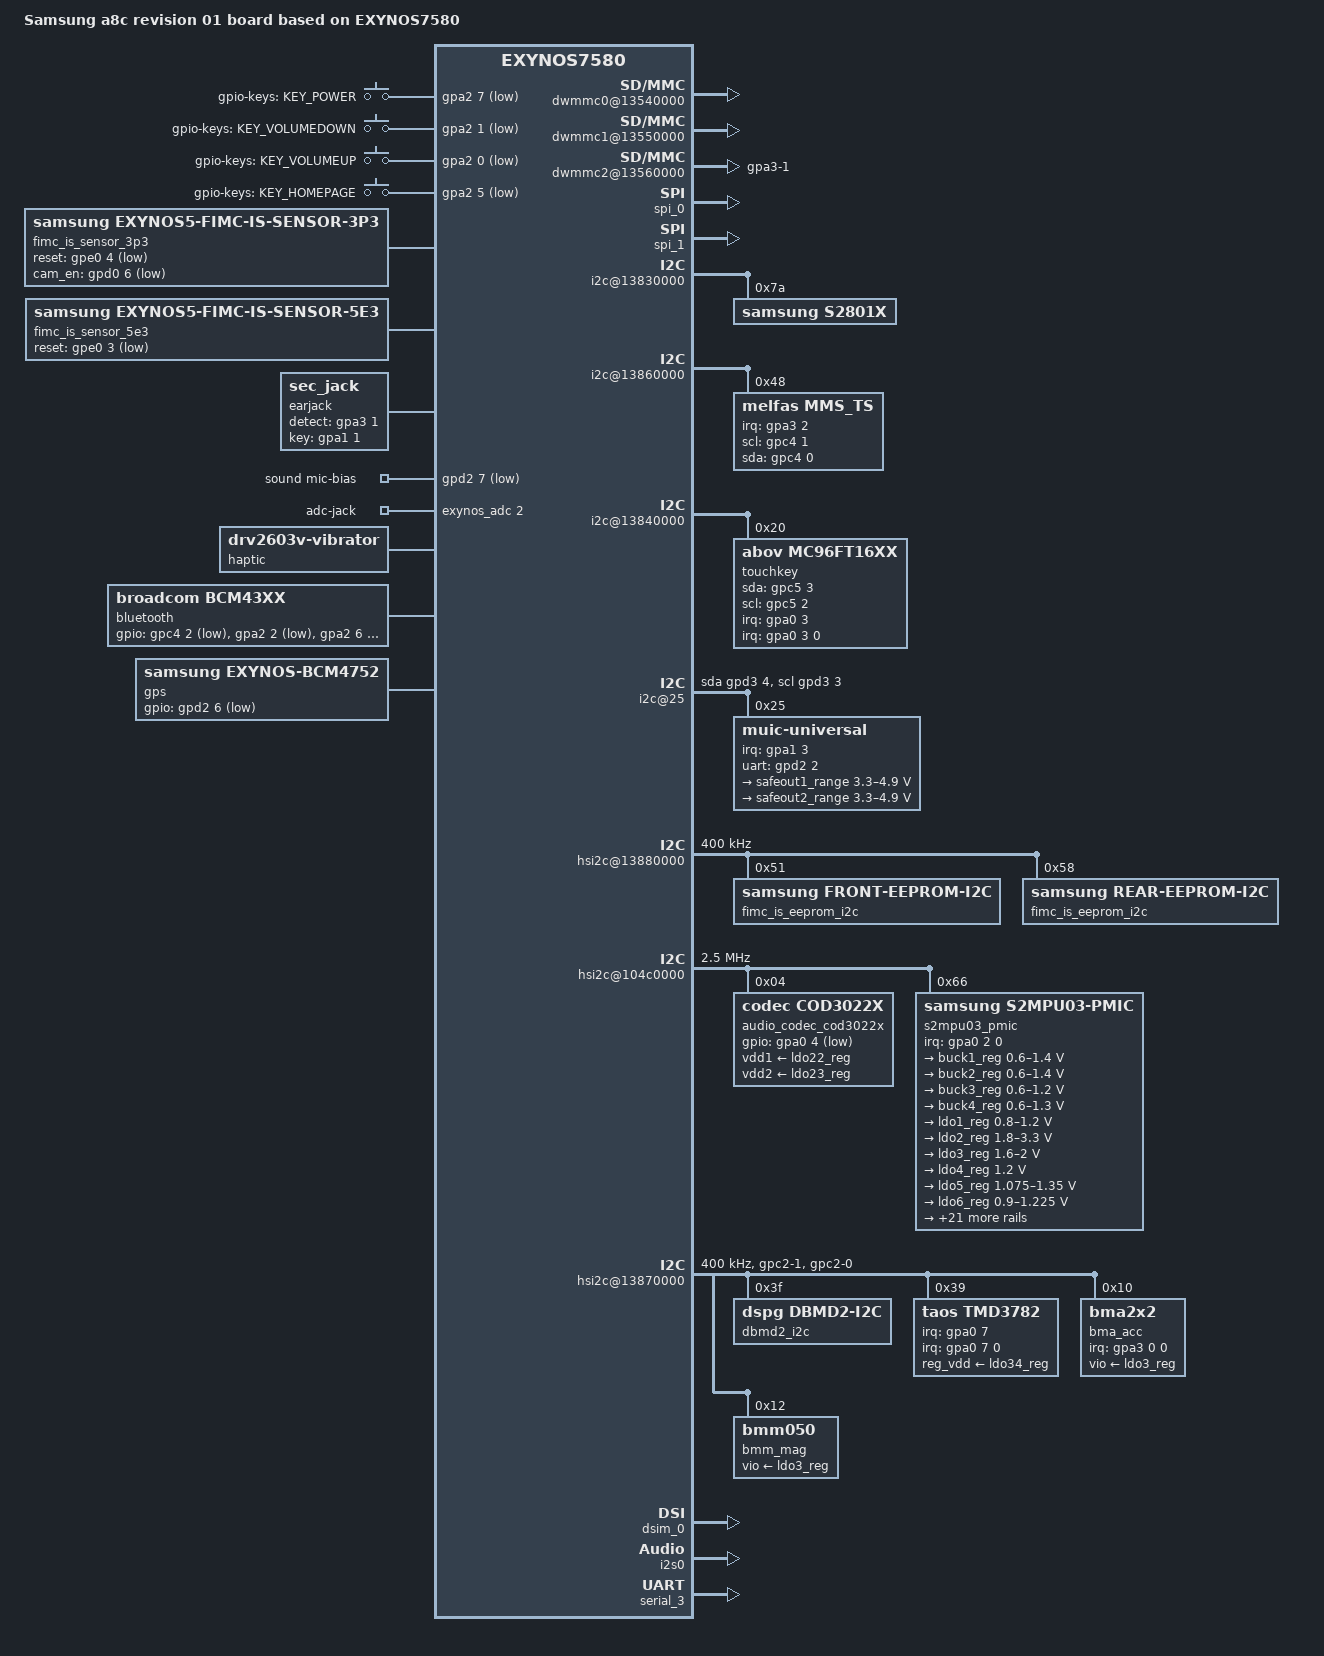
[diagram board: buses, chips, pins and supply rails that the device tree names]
/*
 * SAMSUNG S5neo board device tree source
 *
 * Copyright (c) 2014 Samsung Electronics Co., Ltd.
 *		http://www.samsung.com
 *
 * This program is free software; you can redistribute it and/or modify
 * it under the terms of the GNU General Public License version 2 as
 * published by the Free Software Foundation.
 */

/dts-v1/;
#include "exynos7580-reserve-2000MB.dtsi"
#include "exynos7580.dtsi"
#include "modem-carmen2-pdata.dtsi"
#include "exynos7580-a8clte_battery_01.dtsi"
#include "exynos7580-a8clte_gpio_01.dtsi"
#include "exynos7580-a8clte_fingerprint-sensor_00.dtsi"

/ {
	model = "Samsung a8c revision 01 board based on EXYNOS7580";
	model_info-chip = <7580>;
	model_info-platform = "android";
	model_info-subtype = "samsung";
	model_info-hw_rev = <1>;
	model_info-hw_rev_end = <255>;
	compatible = "samsung,exynos7580-universal7580,r00", "samsung,exynos7580";

	chosen {
		bootargs = "console=ttySAC1,115200n8 ess_setup=0x46000000 pmic_info=0x02";
		linux,initrd-start = <0x42000000>;
		linux,initrd-end = <0x421FFFFF>;
	};

	fixed-rate-clocks {
		oscclk {
			compatible = "samsung,exynos7580-oscclk";
			clock-frequency = <26000000>;
		};
	};

	dwmmc0@13540000 {
		status = "okay";
		num-slots = <1>;
		broken-cd;
		use-smu;
		fixed_volt;
		clock-gate;
		enable-cclk-on-suspend;
		only_once_tune;
		use-fine-tuning;
		ignore-phase = <(1 << 7)>;
		bypass-for-allpass;
		supports-highspeed;
		supports-hs200-mode;
		supports-ddr200-enhanced-strobe;
		supports-poweroff-notification;
		supports-ddr200-mode;
		enable-cache-control;
		use-enable-shift;
		enable-ulp-mode;
		desc-sz = <4>;
		qos_int_level = <200000>;
		fifo-depth = <0x40>;
		card-detect-delay = <100>;
		data-timeout = <200>;
		samsung,dw-mshc-ciu-div = <3>;
		samsung,dw-mshc-sdr-timing = <3 0 2 0>;
		samsung,dw-mshc-ddr-timing = <3 0 2 2>;
		samsung,dw-mshc-hs200-timing = <3 0 3 0>;
		samsung,dw-mshc-ddr200-timing = <1 0 2 0>;
		samsung,dw-mshc-ddr200-ulp-timing = <3 0 3 0>;
		samsung,dw-mshc-ddr200-delay-line = <0x28>;
		samsung,dw-mshc-ddr200-tx-delay-line = <0x28>;
		samsung,dw-mshc-txdt-crc-timer-fastlimit = <0x34>;
		samsung,dw-mshc-txdt-crc-timer-initval = <0x38>;
		clk_pin = "gpr0-0";
		clk_addr = "13750000.pinctrl";
		clk_val = <0x3>;
		clk_str_num = <6>;
		num-ref-clks = <10>;
		ciu_clkin = <25 50 50 100 200 100 200 400 400 200>;
		pinctrl-names = "default";
		pinctrl-0 = <&sd0_clk &sd0_cmd &sd0_rdqs &sd0_bus1 &sd0_bus4 &sd0_bus8>;
		slot@0 {
			reg = <0>;
			bus-width = <8>;
		};
	};

	dwmmc1@13550000 {
		status = "okay";
		num-slots = <1>;
		channel = <1>;
		fixed_volt;
		clock-gate;
		enable-cclk-on-suspend;
		/* broken-cd; */
		caps-control;
		supports-highspeed;
		supports-sdr104-mode;
		keep-power-in-suspend;
		pm-ignore-notify;
		cd-type-external;
		use-broken-voltage;
		use-fine-tuning;
		ignore-phase = <(1 << 7)>;
		fifo-depth = <0x40>;
		card-detect-delay = <200>;
		qos_int_level = <468000>;
		samsung,dw-mshc-ciu-div = <3>;
		samsung,dw-mshc-sdr-timing = <3 0 2 1>;
		samsung,dw-mshc-ddr-timing = <3 0 2 1>;
		clk_pin = "gpr2-0";
		clk_addr = "13750000.pinctrl";
		clk_val = <0x2>;
		clk_str_num = <6>;
		num-ref-clks = <8>;
		ciu_clkin = <25 50 50 100 200 100 200 400>;
		tp_mon_depth = <2>;
				/* Byte/s,  MIF clk, CPU clk, KFC clk*/
                tp_mon_table = <8000000 825000  800000  0
				0       0       0       0>;
		pinctrl-names = "default";
		pinctrl-0 = <&sd1_clk &sd1_cmd &sd1_bus1 &sd1_bus4>;
		slot@0 {
			reg = <0>;
			bus-width = <4>;
		};
	};

	dwmmc2@13560000 {
		status = "okay";
		num-slots = <1>;
		supports-highspeed;
		enable-cclk-on-suspend;
		supports-sdr104-mode;
		bypass-smu;
		use-fine-tuning;
		clock-gate;
		fifo-depth = <0x40>;
		card-detect-delay = <200>;
		data-timeout = <200>;
		qos_int_level = <468000>;
		ignore-phase = <(1 << 7)>;
		bypass-for-allpass;
		fix-fmp-size-mismatch;
		not-allow-single-dma;
		desc-sz = <4>;
		samsung,dw-mshc-ciu-div = <3>;
		samsung,dw-mshc-sdr-timing = <3 0 2 0>;
		samsung,dw-mshc-ddr-timing = <3 0 2 1>;
		clk_pin = "gpr4-0";
		clk_addr = "13750000.pinctrl";
		clk_val = <0x2>;
		clk_str_num = <6>;
		num-ref-clks = <8>;
		ciu_clkin = <25 50 50 100 200 100 200 400>;
		pinctrl-names = "default", "output";
		pinctrl-0 = <&sd2_clk &sd2_cmd &sd2_bus1 &sd2_bus4 &dwmmc2_cd_ext_irq>;
		pinctrl-1 = <&sd2_clk_output &sd2_cmd_output &sd2_bus1 &sd2_bus4 &dwmmc2_cd_ext_irq>;
		gpio-controller;
		sec-sd-slot-type = <1>; /* Normal SD slot */
		#gpio-cells = <2>;
		cd-gpio = <&gpa3 1 0xf>;
		slot@0 {
			reg = <0>;
			bus-width = <4>;
			disable-wp;
		};
	};

	gpio_keys{
		compatible = "gpio-keys";
		pinctrl-names = "default";
		pinctrl-0 = <&gpa2_pull_up_univ>;

		button@1 {
			label = "gpio-keys: KEY_POWER";
			interrupt-parent = <&gpa2>;
			linux,code = <116>;
			gpios = <&gpa2 7 0xf>;
			gpio-key,wakeup = <1>;
		};
		button@2 {
			label = "gpio-keys: KEY_VOLUMEDOWN";
			interrupt-parent = <&gpa2>;
			linux,code = <114>;
			gpios = <&gpa2 1 0xf>;
		};
		button@3 {
			label = "gpio-keys: KEY_VOLUMEUP";
			interrupt-parent = <&gpa2>;
			linux,code = <115>;
			gpios = <&gpa2 0 0xf>;
		};
		button@4 {
			label = "gpio-keys: KEY_HOMEPAGE";
			interrupt-parent = <&gpa2>;
			linux,code = <172>;
			gpios = <&gpa2 5 0xf>;
			gpio-key,wakeup = <1>;
		};
	};

	/* TSP_SCL / TSP_SDA */
	pinctrl@138D0000 {
		i2c_pdn_off: i2c-pdn_off {
			samsung,pins = "gpc4-1", "gpc4-0";
			samsung,pin-con-pdn = <2>;
			samsung,pin-pud-pdn = <1>;
		};
	};

	pinctrl@139B0000 {
		pmic_irq: pmic-irq {
			samsung,pins = "gpa0-2";
			samsung,pin-pud = <3>;
			samsung,pin-drv = <3>;
		};
		/* TOUCH_INT */
		cfg_irq: cfg-irq {
			samsung,pins = "gpa0-3";
			samsung,pin-function = <0xf>;
			samsung,pin-pud = <3>;
			samsung,pin-drv = <0>;
		};
		cfg_input: cfg-input {
			samsung,pins = "gpa0-3";
			samsung,pin-function = <0>;
			samsung,pin-pud = <1>;
			samsung,pin-drv = <0>;
		};
		/* PMIC_IRQBC */
		cod3022_irq: cod3022-irq {
			samsung,pins = "gpa0-4";
			samsung,pin-pud = <3>;
			samsung,pin-drv = <3>;
		};
		/* MUIC_INT */
		muic_irq: muic-irq {
			samsung,pins = "gpa1-3";
			samsung,pin-pud = <0>;
			samsung,pin-drv = <0>;
		};
		prox_irq: prox_irq {
			samsung,pins = "gpa0-7";
			samsung,pin-function = <0>;
			samsung,pin-pud = <0>;
			samsung,pin-drv = <0>;
		};
		acc_int: acc_int {
			samsung,pins = "gpa3-0";
			samsung,pin-function = <0>;
			samsung,pin-pud = <1>;
			samsung,pin-drv = <0>;
		};
		attn_input: attn-input {
			samsung,pins = "gpa3-2";
			samsung,pin-function = <0>;
			samsung,pin-pud = <1>;
			samsung,pin-drv = <0>;
		};
		attn_irq: attn-irq {
			samsung,pins = "gpa3-2";
			samsung,pin-function = <0xf>;
			samsung,pin-pud = <0>;
			samsung,pin-drv = <0>;
		};
		/* T_FLASH_DET */
		dwmmc2_cd_ext_irq: dwmmc2_cd_ext_irq {
			samsung,pins = "gpa3-1";
			samsung,pin-function = <0xf>;
			samsung,pin-pud = <3>;
			samsung,pin-drv = <0>;
		};
		earjack_jack_det: jack-det {
			samsung,pins = "gpa3-1";
			samsung,pin-function = <0xf>;
			samsung,pin-pud = <0>;
			samsung,pin-drv = <0>;
		};
		earjack_key_det: key-det {
			samsung,pins = "gpa1-1";
			samsung,pin-function = <0xf>;
			samsung,pin-pud = <0>;
			samsung,pin-drv = <0>;
		};
	};

	pinctrl@139C0000 {
		/* Vibrator Ctrl */
		motor_en: motor_en {
			samsung,pins = "gpe0-7";
			samsung,pin-function = <1>;
			samsung,pin-pud = <0>;
			samsung,pin-drv = <0>;
		};
		vibetonz_pwm: vibetonz_pwm {
			samsung,pins = "gpc1-1";
			samsung,pin-function = <2>;
			samsung,pin-pud = <0>;
			samsung,pin-drv = <0>;
		};
		/* TOUCH_SCL / SDA */
		cfg_i2c: cfg-i2c {
			samsung,pins = "gpc5-3", "gpc5-2";
			samsung,pin-function = <0>;
			samsung,pin-pud = <3>;
			samsung,pin-drv = <0>;
		};
		cfg_gpio: cfg-gpio {
			samsung,pins = "gpc5-3", "gpc5-2";
			samsung,pin-function = <0>;
			samsung,pin-pud = <0>;
			samsung,pin-drv = <0>;
		};
		/* need check */
		main_mic_bias_en:main-mic-bias-en {
			samsung,pins ="gpd2-7";
			samsung,pin-function = <1>;
			samsung,pin-pud = <0>;
			samsung,pin-con-pdn = <3>;
			samsung,pin-pud-pdn = <0>;
			samsung,pin-val = <0>;
		};
		/* Warm reset information from AP */
		pm_wrsti: pm-wrsti {
			samsung,pins = "gpe1-0";
			samsung,pin-con-pdn = <3>;
		};
	};

	spi_0: spi@13910000 {
		/delete-property/ dma-mode;
		/delete-property/ dmas;
		/delete-property/ dma-names;
		#address-cells = <1>;
		#size-cells = <0>;
		pinctrl-names = "default";
		pinctrl-0 = <&spi0_bus>;
		pinctrl-1 = <&spi0_cs>;
		num-cs = <1>;
		status = "okay";
	};

	spi_1: spi@13920000 {
		/delete-property/ dma-mode;
		/delete-property/ dmas;
		/delete-property/ dma-names;
		#address-cells = <1>;
		#size-cells = <0>;
		pinctrl-names = "default";
		pinctrl-0 = <&spi1_bus>;
		pinctrl-1 = <&spi1_cs>;
		status = "okay";
	};

	i2c@13830000 {
		samsung,i2c-sda-delay = <100>;
		samsung,i2c-max-bus-freq = <400000>;
		status = "okay";
		#address-cells = <1>;
		#size-cells = <0>;
		supports-bus-clear;

		s2801x: s2801x@7a {
			compatible = "samsung,s2801x";
			reg = <0x7a>;
			clocks = <&clock 154>,	/* sclk_audmixer */
				 <&clock 155>,	/* sclk_audmixer_bclk0*/
				 <&clock 156>,	/* sclk_audmixer_bclk1 */
				 <&clock 157>,	/* sclk_audmixer_bclk2 */
				 <&clock 152>,	/* bclk_mi2s */
				 <&clock 149>;	/* dout_audmixer*/

			clock-names = "audmixer_sysclk", "audmixer_bclk0",
					"audmixer_bclk1", "audmixer_bclk2",
					"mi2s_bclk", "audmixer_dout";
			sysreg-reset = <0x110F2000>;
			sysreg-i2c = <0x110F3000>;
			pinctrl-names = "default", "idle";
			pinctrl-0 = <&i2s_pmic_bus
					&i2s2_codec_clk
					&pcm_bt_bus
					&pcm_bt1_bus>;
			pinctrl-1 = <&i2s_pmic_bus_idle
					&i2s2_codec_clk_idle
					&pcm_bt_bus_idle
					&pcm_bt1_bus_idle>;
			samsung,lpass-subip;
		};
	};

	i2c@13860000 {
		samsung,i2c-sda-delay = <100>;
		samsung,i2c-max-bus-freq = <400000>;
		status = "okay";
		#address-cells = <1>;
		#size-cells = <0>;

		mms_ts@48 {
			compatible = "melfas,mms_ts";
			reg = <0x48>;
			pinctrl-names = "on_state", "off_state";
			pinctrl-0 = <&attn_irq>;
			pinctrl-1 = <&attn_input &i2c_pdn_off>;
			melfas,vdd_en = "tsp_avdd";
			melfas,io_en = "vdd_ldo3";
			melfas,irq-gpio = <&gpa3 2 0>;
			melfas,scl-gpio = <&gpc4 1 0>;
			melfas,sda-gpio = <&gpc4 0 0>;
			melfas,max_x = <2160>;
			melfas,max_y = <3840>;
			melfas,fw_name = "tsp_melfas/mms449_a8.fw";
		};
	};

	/* Touchkey */
	i2c@13840000 {
		samsung,i2c-sda-delay = <100>;
		samsung,i2c-max-bus-freq = <200000>;
		status = "okay";
		#address-cells = <1>;
		#size-cells = <0>;
		pinctrl-0 = <&i2c7_bus>;

		touchkey@20 {
			pinctrl-names = "on_irq","off_irq";
			pinctrl-0 = <&cfg_irq>;
			pinctrl-1 = <&cfg_input>;
			compatible = "abov,mc96ft16xx";
			reg = <0x20>;
			interrupts = <3 0 0>;
			interrupt-parent = <&gpa0>;
			abov,sda-gpio = <&gpc5 3 0>;
			abov,scl-gpio = <&gpc5 2 0>;
			abov,irq-gpio = <&gpa0 3 0>;
			abov,regulator_ic = "vtouch_2.8v";
			abov,regulator_led = "vtouch_led_2.8v";
			abov,boot-on-ldo = "true";
		};
	};

	/* MUIC */
	i2c@25 {
		compatible = "i2c-gpio";
		gpios = <&gpd3 4 0
			&gpd3 3 0>;
		i2c-gpio,delay-us = <5>;
		#address-cells = <1>;
		#size-cells = <0>;
		status = "okay";

		muic-universal@25 {
			status = "okay";
			compatible = "muic-universal";
			reg = <0x25>;
			pinctrl-names = "default";
			pinctrl-0 = <&muic_irq>;
			muic-universal,chip_name = "sm,sm5703";
			muic-universal,irq-gpio = <&gpa1 3 0>;
			muic-universal,uart-gpio = <&gpd2 2 0>;
			muic-universal,uart-ap = <0x1>;
			regulators {
				ESAFEOUT1 {
					regulator-compatible = "safeout1";
					regulator-name = "safeout1_range";
					regulator-min-microvolt = <3300000>;
					regulator-max-microvolt = <4900000>;
					regulator-boot-on;
				};

				ESAFEOUT2 {
					regulator-compatible = "safeout2";
					regulator-name = "safeout2_range";
					regulator-min-microvolt = <3300000>;
					regulator-max-microvolt = <4900000>;
				};
			};
		};
	};

	muic {
		status = "disabled";
		muic,support-list = "+OTG:GND",
					"-MHL:1K",
					"-VZW Accessory:28.7K",
					"-VZW Incompatible:34K",
					"-Smartdock:40.2K",
					"-HMT:49.9K",
					"-Audiodock:64.9K",
					"-USB LANHUB:80.07K",
					"+Charging Cable:102K",
					"-Universal Multimedia dock:121K",
					"+Jig USB Off:255K",
					"+Jig USB On:301K",
					"-Deskdock:365K",
					"+TYPE2 Charger:442K",
					"+Jig UART Off:523K",
					"+Jig UART On:619K",
					"+TA:OPEN",
					"+USB:OPEN",
					"+CDP:OPEN",
					"+Undefined Charging:XXX";
	};

	pinctrl@139C0000 {
		fled_flash_sleep: fled-flash-sleep {
			samsung,pins = "gpe0-2", "gpe0-1";
			samsung,pin-function = <2>;
			samsung,pin-pud = <1>;
			samsung,pin-drv = <0>;
		};
		fled_flash_active: fled-flash-active {
			samsung,pins = "gpe0-2", "gpe0-1";
			samsung,pin-function = <1>;
			samsung,pin-pud = <1>;
			samsung,pin-drv = <0>;
		};
	};

	hsi2c@13880000 {
		status = "okay";
		clock-frequency = <400000>;
		fimc_is_eeprom_i2c@51{
			compatible = "samsung,front-eeprom-i2c";
			reg = <0x51>;
			use_i2c_pinctrl;
			fimc_is_front_eeprom_pinname = "139C0000.pinctrl";
			fimc_is_front_eeprom_sda = "gpc2-2";
			fimc_is_front_eeprom_scl = "gpc2-3";
			pinfunc_on = <4>;
			pinfunc_off = <0>;
		};
		fimc_is_eeprom_i2c@58 {
			compatible = "samsung,rear-eeprom-i2c";
			reg = <0x58>;
			use_i2c_pinctrl;
			fimc_is_rear_eeprom_pinname = "139C0000.pinctrl";
			fimc_is_rear_eeprom_sda = "gpc2-2";
			fimc_is_rear_eeprom_scl = "gpc2-3";
			pinfunc_on = <4>;
			pinfunc_off = <0>;
		};
	};

	hsi2c@104c0000 {
		status = "okay";
		samsung,hs-mode;
		clock-frequency = <2500000>;
		samsung,hsi2c-batcher;
		#address-cells = <1>;
		#size-cells = <0>;

		audio_codec_cod3022x: cod3022x@04 {
			compatible = "codec,cod3022x";
			reg = <0x04>;
			ten-bit-address;
			vdd1-supply = <&ldo22_reg>;
			vdd2-supply = <&ldo23_reg>;
			pinctrl-names = "default";
			pinctrl-0 = <&cod3022_irq>;
			interrupt-parent = <&gpa0>;
			gpios = <&gpa0 4 0xf>;
			/* Mic Bias: 0->2.1v, 1->2.5v, 2->2.6v, 3->3.0v */
			mic-bias1-voltage = <3>;
			mic-bias2-voltage = <3>;
		};

		s2mpu03_pmic@66 {
			compatible = "samsung,s2mpu03-pmic";
			reg = <0x66>;
			ten-bit-address;
			interrupts = <2 0 0>;
			interrupt-parent = <&gpa0>;
			pinctrl-names = "default";
			pinctrl-0 = <&pmic_irq &pm_wrsti>;
			g3d_en = <1>; /* 1 : enable , 0 : disable */
			/*
			buck4en_pin = "etc1-3";
			buck4en_addr = "1111111.pinctrl";
			*/
			/* RTC: wtsr/smpl */
			wtsr_en = <1>; /* enable */
			smpl_en = <1>; /* enable */
			wtsr_timer_val = <3>;   /* 1000ms */
			smpl_timer_val = <4>;   /* 500ms */
			check_jigon = <0>; /* do not check jigon */
			/* RTC: If it's first boot, reset rtc to 1/1/2015 12:00:00(Thu) */
			init_time,sec = <0>;
			init_time,min = <0>;
			init_time,hour = <12>;
			init_time,mday = <1>;
			init_time,mon = <0>;
			init_time,year = <115>;
			init_time,wday = <4>;

			regulators {
				buck1_reg: BUCK1 {
					regulator-name = "cpu-cluster.1";
					regulator-min-microvolt = <600000>;
					regulator-max-microvolt = <1400000>;
					regulator-always-on;
					regulator-boot-on;
					regulator-ramp-delay = <12000>;
					regulator-initial-mode = <1>;
				};

				buck2_reg: BUCK2 {
					regulator-name = "cpu-cluster.0";
					regulator-min-microvolt = <600000>;
					regulator-max-microvolt = <1400000>;
					regulator-always-on;
					regulator-boot-on;
					regulator-ramp-delay = <12000>;
					regulator-initial-mode = <1>;
				};

				buck3_reg: BUCK3 {
					regulator-name = "vdd_intmif";
					regulator-min-microvolt = <600000>;
					regulator-max-microvolt = <1200000>;
					regulator-always-on;
					regulator-boot-on;
					regulator-ramp-delay = <12000>;
					regulator-initial-mode = <1>;
				};

				buck4_reg: BUCK4 {
					regulator-name = "vdd_g3d";
					regulator-min-microvolt = <600000>;
					regulator-max-microvolt = <1300000>;
					regulator-always-on;
					regulator-boot-on;
					regulator-ramp-delay = <12000>;
					regulator-initial-mode = <1>;
				};

				ldo1_reg: LDO1 {
					regulator-name = "vdd_ldo1";
					regulator-min-microvolt = <800000>;
					regulator-max-microvolt = <1200000>;
					regulator-always-on;
					regulator-ramp-delay = <12000>;
					regulator-initial-mode = <3>;
				};

				ldo2_reg: LDO2 {
					regulator-name = "vqmmc";
					regulator-min-microvolt = <1800000>;
					regulator-max-microvolt = <3300000>;
					regulator-boot-on;
					regulator-always-on;
					regulator-ramp-delay = <12000>;
					regulator-initial-mode = <1>;
				};

				ldo3_reg: LDO3 {
					regulator-name = "vdd_ldo3";
					regulator-min-microvolt = <1600000>;
					regulator-max-microvolt = <2000000>;
					regulator-boot-on;
					regulator-always-on;
					regulator-ramp-delay = <12000>;
					regulator-initial-mode = <3>;
				};

				ldo4_reg: LDO4 {
					regulator-name = "vdd_ldo4";
					regulator-min-microvolt = <1200000>;
					regulator-max-microvolt = <1200000>;
					regulator-boot-on;
					regulator-always-on;
					regulator-ramp-delay = <12000>;
					regulator-initial-mode = <1>;
				};

				ldo5_reg: LDO5 {
					regulator-name = "vdd_ldo5";
					regulator-min-microvolt = <1075000>;
					regulator-max-microvolt = <1350000>;
					regulator-boot-on;
					regulator-always-on;
					regulator-ramp-delay = <12000>;
					regulator-initial-mode = <3>;
				};

				ldo6_reg: LDO6 {
					regulator-name = "vdd_ldo6";
					regulator-min-microvolt = <900000>;
					regulator-max-microvolt = <1225000>;
					regulator-boot-on;
					regulator-always-on;
					regulator-ramp-delay = <12000>;
					regulator-initial-mode = <1>;
				};

				ldo7_reg: LDO7 {
					regulator-name = "vdd_ldo7";
					regulator-min-microvolt = <1600000>;
					regulator-max-microvolt = <2000000>;
					regulator-boot-on;
					regulator-always-on;
					regulator-initial-mode = <1>;
				};

				ldo8_reg: LDO8 {
					regulator-name = "vdd_ldo8";
					regulator-min-microvolt = <2250000>;
					regulator-max-microvolt = <3300000>;
					regulator-boot-on;
					regulator-always-on;
					regulator-initial-mode = <1>;
				};

				ldo10_reg: LDO10 {
					regulator-name = "vdd_ldo10";
					regulator-min-microvolt = <800000>;
					regulator-max-microvolt = <1350000>;
					regulator-always-on;
					regulator-initial-mode = <1>;
				};

				ldo22_reg: LDO22 {
					regulator-name = "codec_ldo22";
					regulator-min-microvolt = <1000000>;
					regulator-max-microvolt = <2375000>;
					regulator-initial-mode = <3>;
				};

				ldo23_reg: LDO23 {
					regulator-name = "codec_ldo23";
					regulator-min-microvolt = <1000000>;
					regulator-max-microvolt = <2375000>;
					regulator-initial-mode = <3>;
				};

				ldo24_reg: LDO24 {
					regulator-name = "vdd_ldo24";
					regulator-min-microvolt = <1800000>;
					regulator-max-microvolt = <3375000>;
					regulator-always-on;
					regulator-boot-on;
					regulator-initial-mode = <3>;
				};

				ldo25_reg: LDO25 {
					regulator-name = "vdd_ldo25";
					regulator-min-microvolt = <1000000>;
					regulator-max-microvolt = <2375000>;
					regulator-always-on;
					regulator-boot-on;
					regulator-initial-mode = <3>;
				};

				ldo26_reg: LDO26 {
					regulator-name = "vmmc";
					regulator-min-microvolt = <2800000>;
					regulator-max-microvolt = <2800000>;
					regulator-boot-on;
					regulator-initial-mode = <1>;
				};

				ldo27_reg: LDO27 {
					regulator-name = "VDDIO_1.8V_CAM";
					regulator-min-microvolt = <1800000>;
					regulator-max-microvolt = <1800000>;
					regulator-initial-mode = <1>;
				};

				ldo28_reg: LDO28 {
					regulator-name = "vtouch_2.8v";
					regulator-min-microvolt = <2800000>;
					regulator-max-microvolt = <2800000>;
					regulator-boot-on;
					regulator-initial-mode = <1>;
				};

				ldo29_reg: LDO29 {
					regulator-name = "VDD_VTCAM_SENSOR_A2P8";
					regulator-min-microvolt = <2800000>;
					regulator-max-microvolt = <2800000>;
					regulator-initial-mode = <1>;
				};

				ldo30_reg: LDO30 {
					regulator-name = "LCD_3P0";
					regulator-min-microvolt = <3000000>;
					regulator-max-microvolt = <3000000>;
					regulator-boot-on;
					regulator-initial-mode = <3>;
				};

				ldo31_reg: LDO31 {
					regulator-name = "LCD_1P8";
					regulator-min-microvolt = <1800000>;
					regulator-max-microvolt = <1800000>;
					regulator-boot-on;
					regulator-initial-mode = <3>;
				};

				ldo32_reg: LDO32 {
					regulator-name = "VDDIO_1.8V_VT";
					regulator-min-microvolt = <1800000>;
					regulator-max-microvolt = <1800000>;
					regulator-initial-mode = <1>;
				};

				ldo33_reg: LDO33 {
					regulator-name = "tsp_avdd";
					regulator-min-microvolt = <1800000>;
					regulator-max-microvolt = <3375000>;
					regulator-initial-mode = <1>;
				};

				ldo34_reg: LDO34 {
					regulator-name = "VDD_SENSOR_2P85";
					regulator-min-microvolt = <2850000>;
					regulator-max-microvolt = <2850000>;
					regulator-always-on;
					regulator-initial-mode = <1>;
				};

				ldo35_reg: LDO35 {
					regulator-name = "VDD_CAM_SENSOR_A2P95";
					regulator-min-microvolt = <2950000>;
					regulator-max-microvolt = <2950000>;
					regulator-initial-mode = <1>;
				};

				ldo36_reg: LDO36 {
					regulator-name = "VDD_VTCAM_1P2";
					regulator-min-microvolt = <1200000>;
					regulator-max-microvolt = <1200000>;
					regulator-initial-mode = <1>;
				};

				ldo37_reg: LDO37 {
					regulator-name = "VLED_3P3";
					regulator-min-microvolt = <3300000>;
					regulator-max-microvolt = <3350000>;
					regulator-always-on;
					regulator-initial-mode = <1>;
				};

				ldo38_reg: LDO38 {
					regulator-name = "ldo38";
					regulator-min-microvolt = <2800000>;
					regulator-max-microvolt = <2800000>;
					regulator-always-on;
					regulator-initial-mode = <1>;
				};

				ldo39_reg: LDO39 {
					regulator-name = "ldo39";
					regulator-min-microvolt = <1800000>;
					regulator-max-microvolt = <1800000>;
					regulator-always-on;
					regulator-initial-mode = <3>;
				};
			};
		};
	};

	fimc_is_sensor_3p3: fimc-is_sensor_3p3@0 {
		compatible = "samsung,exynos5-fimc-is-sensor-3p3";

		pinctrl-names = "pin0", "pin1";
		pinctrl-0 = <&fimc_is_mclk0_fn &fimc_is_i2c0>; /* rear on */
		pinctrl-1 = <&fimc_is_mclk0_in &fimc_is_i2c0>; /* rear off */

		position = <0>; /* Rear:0. Front:1 */
		id = <0>; /* bns_id */
		mclk_ch = <0>;
		sensor_i2c_ch = <0>; /* I2C 0 */
		sensor_i2c_addr = <0x0>;

		gpio_reset = <&gpe0 4 0x1>; /* sensor reset */
		gpios_cam_en = <&gpd0 6 0x1>;
		status = "okay";

		af {
			product_name = <13>; /* DW9807 */
			i2c_addr = <0x18>;
			i2c_ch = <0>; /* I2C 0 */
		};

		flash {
			product_name = <11>; /* GPIO */
			flash_first_gpio = <2>;
			flash_second_gpio = <1>;
		};
	};

	fimc_is_sensor_5e3: fimc-is_sensor_5e3@0 {
		compatible = "samsung,exynos5-fimc-is-sensor-5e3";

		pinctrl-names = "pin0", "pin1";
		pinctrl-0 = <&fimc_is_mclk1_fn &fimc_is_i2c1>; /* front on */
		pinctrl-1 = <&fimc_is_mclk1_in &fimc_is_i2c1>; /* front off */

		position = <1>; /* Rear:0. Front:1 */
		id = <1>; /* bns_id */
		mclk_ch = <1>;
		sensor_i2c_ch = <1>;
		sensor_i2c_addr = <0x0>;

		gpio_reset = <&gpe0 3 0x1>;
		status = "okay";
	};


	fimc_is_sensor0: fimc_is_sensor@144a0000 {
		scenario = <0>;
		id = <0>;
		mclk_ch = <0>;
		csi_ch = <0>;
		flite_ch = <0>;
		i2c_ch = <0>;
		i2c_addr = <0x0>;
		is_bns = <1>;
		status = "okay";
	};

	fimc_is_sensor1: fimc_is_sensor@144b0000 {
		scenario = <0>;
		id = <1>;
		mclk_ch = <1>;
		csi_ch = <1>;
		flite_ch = <1>;
		i2c_ch = <1>;
		i2c_addr = <0x0>;
		is_bns = <0>;
		status = "okay";
	};

	fimc_is@14400000 {
		rear_sensor_id = <23>; /* SENSOR_NAME_S5K3P3 */
		front_sensor_id = <17>; /* SENSOR_NAME_S5K5E3 */
		use_module_check;

		total_camera_num = <2>;
		camera_info0 {				// 0 : rear
			isp = <0>;				/* 0 : INT , 1 : EXT , 2 : SOC */
			cal_memory = <2>;		/* 0 : N , 1 : FROM , 2 : EEPROM , 3 : OTP  */
			read_version = <0>;		/* 0 : SYSFS , 1 : CAMON */
			core_voltage = <0>;		/* 0 : N , 1 : Y  */
			upgrade = <0>;			/* 0 : N , 1 : SYSFS , 2 : CAMON */
			companion = <0>;	/* 0 : N , 1 : Y  */
			ois = <0>;				/* 0 : N , 1 : Y  */
		};
		camera_info1 {				// 1 : front
			isp = <0>;				/* 0 : INT , 1 : EXT , 2 : SOC */
			cal_memory = <2>;		/* 0 : N , 1 : FROM , 2 : EEPROM , 3 : OTP  */
			read_version = <0>;		/* 0 : SYSFS , 1 : CAMON */
			core_voltage = <0>;		/* 0 : N , 1 : Y  */
			upgrade = <0>;			/* 0 : N , 1 : SYSFS , 2 : CAMON */
			companion = <0>;	/* 0 : N , 1 : Y  */
			ois = <0>;				/* 0 : N , 1 : Y  */
		};

		#define DVFS_INT_L0 400000
		#define DVFS_INT_L1 334000
		#define DVFS_INT_L2 267000
		#define DVFS_INT_L3 200000
		#define DVFS_INT_L4 160000
		#define DVFS_INT_L5 134000
		#define DVFS_INT_L6 111000
		#define DVFS_INT_L7 100000

		#define DVFS_CAM_L0 530000
		#define DVFS_CAM_L1 430000
		#define DVFS_CAM_L2 400000
		#define DVFS_CAM_L3 334000
		#define DVFS_CAM_L4 267000
		#define DVFS_CAM_L5 200000

		#define DVFS_MIF_L0 825000
		#define DVFS_MIF_L1 728000
		#define DVFS_MIF_L2 667000
		#define DVFS_MIF_L3 559000
		#define DVFS_MIF_L4 416000
		#define DVFS_MIF_L5 338000
		#define DVFS_MIF_L6 273000
		#define DVFS_MIF_L7 200000

		fimc_is_dvfs {
			default_int = <DVFS_INT_L0>;
			default_cam = <DVFS_CAM_L0>;
			default_mif = <DVFS_MIF_L0>;
			default_i2c = <0>;

			front_preview_int = <DVFS_INT_L3>;
			front_preview_cam = <DVFS_CAM_L4>;
			front_preview_mif = <DVFS_MIF_L3>;
			front_preview_i2c = <0>;

			front_capture_int = <DVFS_INT_L3>;
			front_capture_cam = <DVFS_CAM_L4>;
			front_capture_mif = <DVFS_MIF_L3>;
			front_capture_i2c = <0>;

			front_video_int = <DVFS_INT_L3>;
			front_video_cam = <DVFS_CAM_L4>;
			front_video_mif = <DVFS_MIF_L3>;
			front_video_i2c = <0>;

			front_video_whd_int = <DVFS_INT_L0>;
			front_video_whd_cam = <DVFS_CAM_L0>;
			front_video_whd_mif = <DVFS_MIF_L0>;
			front_video_whd_i2c = <0>;

			front_video_capture_int = <DVFS_INT_L3>;
			front_video_capture_cam = <DVFS_CAM_L4>;
			front_video_capture_mif = <DVFS_MIF_L3>;
			front_video_capture_i2c = <0>;

			front_video_whd_capture_int = <DVFS_INT_L0>;
			front_video_whd_capture_cam = <DVFS_CAM_L0>;
			front_video_whd_capture_mif = <DVFS_MIF_L0>;
			front_video_whd_capture_i2c = <0>;

			front_vt1_int = <DVFS_INT_L3>;
			front_vt1_cam = <DVFS_CAM_L4>;
			front_vt1_mif = <DVFS_MIF_L3>;
			front_vt1_i2c = <0>;

			front_vt2_int = <DVFS_INT_L3>;
			front_vt2_cam = <DVFS_CAM_L4>;
			front_vt2_mif = <DVFS_MIF_L3>;
			front_vt2_i2c = <0>;

			rear_preview_fhd_int = <DVFS_INT_L3>;
			rear_preview_fhd_cam = <DVFS_CAM_L0>;
			rear_preview_fhd_mif = <DVFS_MIF_L2>;
			rear_preview_fhd_i2c = <0>;

			rear_preview_whd_int = <DVFS_INT_L0>;
			rear_preview_whd_cam = <DVFS_CAM_L0>;
			rear_preview_whd_mif = <DVFS_MIF_L0>;
			rear_preview_whd_i2c = <0>;

			rear_preview_uhd_int = <DVFS_INT_L0>;
			rear_preview_uhd_cam = <DVFS_CAM_L0>;
			rear_preview_uhd_mif = <DVFS_MIF_L0>;
			rear_preview_uhd_i2c = <0>;

			rear_capture_int = <DVFS_INT_L3>;
			rear_capture_cam = <DVFS_CAM_L0>;
			rear_capture_mif = <DVFS_MIF_L2>;
			rear_capture_i2c = <0>;

			rear_video_fhd_int = <DVFS_INT_L3>;
			rear_video_fhd_cam = <DVFS_CAM_L0>;
			rear_video_fhd_mif = <DVFS_MIF_L2>;
			rear_video_fhd_i2c = <0>;

			rear_video_uhd_int = <DVFS_INT_L0>;
			rear_video_uhd_cam = <DVFS_CAM_L0>;
			rear_video_uhd_mif = <DVFS_MIF_L0>;
			rear_video_uhd_i2c = <0>;

			rear_video_fhd_capture_int = <DVFS_INT_L3>;
			rear_video_fhd_capture_cam = <DVFS_CAM_L0>;
			rear_video_fhd_capture_mif = <DVFS_MIF_L2>;
			rear_video_fhd_capture_i2c = <0>;

			rear_video_uhd_capture_int = <DVFS_INT_L0>;
			rear_video_uhd_capture_cam = <DVFS_CAM_L0>;
			rear_video_uhd_capture_mif = <DVFS_MIF_L0>;
			rear_video_uhd_capture_i2c = <0>;

			dual_preview_int = <DVFS_INT_L0>;
			dual_preview_cam = <DVFS_CAM_L0>;
			dual_preview_mif = <DVFS_MIF_L0>;
			dual_preview_i2c = <0>;

			dual_capture_int = <DVFS_INT_L0>;
			dual_capture_cam = <DVFS_CAM_L0>;
			dual_capture_mif = <DVFS_MIF_L0>;
			dual_capture_i2c = <0>;

			dual_video_int = <DVFS_INT_L0>;
			dual_video_cam = <DVFS_CAM_L0>;
			dual_video_mif = <DVFS_MIF_L0>;
			dual_video_i2c = <0>;

			dual_video_capture_int = <DVFS_INT_L0>;
			dual_video_capture_cam = <DVFS_CAM_L0>;
			dual_video_capture_mif = <DVFS_MIF_L0>;
			dual_video_capture_i2c = <0>;

			preview_high_speed_fps_int = <DVFS_INT_L0>;
			preview_high_speed_fps_cam = <DVFS_CAM_L0>;
			preview_high_speed_fps_mif = <DVFS_MIF_L0>;
			preview_high_speed_fps_i2c = <0>;

			video_high_speed_fps_int = <DVFS_INT_L0>;
			video_high_speed_fps_cam = <DVFS_CAM_L0>;
			video_high_speed_fps_mif = <DVFS_MIF_L0>;
			video_high_speed_fps_i2c = <0>;

			max_int = <DVFS_INT_L0>;
			max_cam = <DVFS_CAM_L0>;
			max_mif = <DVFS_MIF_L0>;
			max_i2c = <0>;
		};
	};

	hsi2c@13870000 {
		status = "okay";
		samsung,hs-mode;
		clock-frequency = <400000>;
		#address-cells = <1>;
		#size-cells = <0>;
		pinctrl-names = "default";
		pinctrl-0 = <&sensor_i2c>;
		samsung,i2c-bus-num = <20>;

		dbmd2_i2c: dbmd2_interface@3f {
			status = "okay";
			compatible = "dspg,dbmd2-i2c";
			reg = <0x3f>;
			/* operational-addr = <0x48>; */
		};

		tmd3782@39 {
			compatible = "taos,tmd3782";
			reg = <0x39>;
			pinctrl-names = "default";
			pinctrl-0 = <&prox_irq>;
			interrupts = <7 0 0>;
			interrupt-parent = <&gpa0>;
			taos,irq_gpio = <&gpa0 7 0>;
			reg_vdd-supply = <&ldo34_reg>;
			taos,prox_rawdata_trim = <170>;
			taos,prox_thresh_hi = <480>;
			taos,prox_thresh_low = <340>;
			taos,als_time = <0xEB>;
			taos,intr_filter = <0x33>;
			taos,prox_pulsecnt = <0x06>;
			taos,als_gain = <0x22>;
			taos,coef_atime = <50>;
			taos,ga = <97>;
			taos,coef_a = <1000>;
			taos,coef_b = <1880>;
			taos,coef_c = <642>;
			taos,coef_d = <1140>;
		};

		bma_acc@10 {
			compatible = "bma2x2";
			reg = <0x10>;
			pinctrl-names = "default";
			pinctrl-0 = <&acc_int>;
			interrupts = <0 0 0>;
			interrupt-parent = <&gpa3>;
			bma2x2,gpio_int1 = <&gpa3 0 0x00>;
			bma2x2,vio-supply = <&ldo3_reg>;
			bma2x2,fs_range = <0x00>;
			bma2x2,poll_interval = <100>;
			bma2x2,min_interval = <2>;
			bma2x2,supply_type = <1>;
			bma2x2,accel_place = <0>;
		};

		bmm_mag@12 {
			compatible = "bmm050";
			reg = <0x12>;
			status = "okay";
			bmm050,vio-supply = <&ldo3_reg>;
			bmm050,poll_interval = <100>;
			bmm050,min_interval = <13>;
			bmm050,fs_range = <0x60>;
			bmm050,magnetic_place = <0>;
		};
	};

	ion {
		compatible = "samsung,exynos5430-ion";
	};

	/* TE */
	decon_fb@14830000 {
		/* XEINT7, GPIO & pin control */
		gpios = <&gpd0 7 0xf>;
		psr_mode = <2>;		/* 0: video mode, 1: DP command mode, 2: MIPI command mode */
		disp-pll-clk = <142000000>;
		status = "okay";
	};

	dsim_0: dsim@14800000 {
		lcd_info = <&s6e3fa3>;
		decon_board = <&decon_board_list>;
		/* lcd reset, power */
		/* gpios = <&gpd1 3 0x1>, <&gpd3 1 0x1>; */
		/* lcd_vdd = "LCD_3P0"; */
		/* lcd_vdd_2 = "LCD_1P8"; */
		status = "okay";
	};

	decon_board_list: decon_board_list {
		dsim_set_panel_power_enable {
			type = "regulator,enable", "regulator,enable", "gpio,high", "delay,usleep";
			gpios = <&gpd3 1 0x1>;
			delay = <10000 11000>;
			regulator = "LCD_3P0", "LCD_1P8";
		};
		dsim_set_panel_power_disable {
			type = "gpio,low", "delay,usleep", "gpio,low", "delay,usleep", "regulator,disable", "delay,usleep", "regulator,disable";
			gpios = <&gpd1 3 0x1>, <&gpd3 1 0x1>;
			delay = <10000 11000>, <5000 6000>, <5000 6000>;
			regulator = "LCD_1P8", "LCD_3P0";
		};
		dsim_reset_panel {
			type = "gpio,high", "delay,usleep", "gpio,low", "delay,usleep", "gpio,high", "delay,usleep";
			gpios = <&gpd1 3 0x1>, <&gpd1 3 0x1>, <&gpd1 3 0x1>;
			delay = <10000 11000>, <10000 11000>, <10000 11000>;
		};
	};

	s6e3fa3: s6e3fa3_fhd {
		mode = <2>;
		resolution = <1080 1920>;
		size = <65 115>;
		timing,refresh = <60>;
		timing,h-porch = <1 1 1>;
		timing,v-porch = <12 1 1>;
		timing,dsi-hs-clk = <1024>;
		timing,dsi-escape-clk = <16>;
		mic = <0>;
	};

	i2s0: i2s@11040000 {
		status = "okay";
	};

	audio_cp_dummy: cp_dummy {
		compatible = "samsung,cp_dummy";
		status = "okay";
	};

	audio_bt_dummy: bt_dummy {
		compatible = "samsung,bt_dummy";
		status = "okay";
	};

	audio_fm_dummy: fm_dummy {
		compatible = "samsung,fm_dummy";
		status = "okay";
	};

	audio_codec_dummy: dummy-codec {
		compatible = "samsung,dummy-codec";
		status = "okay";
	};

	det_zones: det_zones {
		#list-det-cells = <4>;
	};

	but_zones: but_zones {
		#list-but-cells = <3>;
	};

	earjack {
		compatible = "sec_jack";
		detect-gpio = <&gpa3 1 0>;
		key-gpio = <&gpa1 1 0>;
	/*	key-dbtime = <100>; */
	/*	det-dbtime = <50>; */
		det-zones-list = <&det_zones 0 10000 10 0>,
			<&det_zones 1700 10000 10 2>,
			<&det_zones 3800 10000 10 1>,
			<&det_zones 9999 10000 10 1>;
		but-zones-list = <&but_zones 226 1 700>,
			<&but_zones 582 701 768>,
			<&but_zones 115 769 930>,
			<&but_zones 114 931 1700>;
		pinctrl-names = "default";
		pinctrl-0 = <&earjack_jack_det &earjack_key_det>;
		status = "okay";
	};

	sound {
		compatible = "samsung,universal7580-cod3022x";
		samsung,audio-cpu = <&i2s0	/* primary */
					&i2s0	/* secondary */
					&audio_cp_dummy
					&audio_bt_dummy
					&audio_fm_dummy
					&eax
					&eax>;
		samsung,audio-codec = <&audio_codec_cod3022x
					&audio_codec_cod3022x
					&audio_codec_cod3022x
					&audio_codec_dummy
					&audio_codec_cod3022x
					&audio_codec_cod3022x
					&audio_codec_cod3022x>;
		samsung,auxdev = <&s2801x>;
		samsung,use-externel-jd;
		clocks = <&clock 151>;		 /* sclk_i2s */
		clock-names = "codec_bclk";
		mic-bias-mode = <3 1 2>;
		mic-bias-gpios = <&gpd2 7 0x1>;
		pinctrl-names = "default";
		pinctrl-0 = <&main_mic_bias_en>;
		io-channels = <&exynos_adc 2>;
		io-channel-names = "adc-jack";
		#io-channel-cells = <1>;
		io-channel-ranges;
		samsung,fm-uses-bt1;
		status = "okay";
	};

	usb_notifier {
		compatible = "samsung,usb-notifier";
	};

	haptic {
		status = "okay";
		compatible = "drv2603v-vibrator";
		pinctrl-names = "default";
		pinctrl-0 = <&motor_en &vibetonz_pwm>;
		haptic,max_timeout = <10000>;
		haptic,duty = <37348>;   /* ratio = 98% */
		haptic,period = <38110>; /* freq = 205 * 128 = 26240hz */
		haptic,pwm_id = <0>;
		haptic,en = <&gpd3 2 0>;
	};

	serial_3: uart@11060000 {
		/* Enable AUD-UART for Bluetooth */
		pinctrl-0 = <&uart_bt_active &uart_bt_output_sleep &uart_bt_input_sleep>;
		status = "okay";
	};

	bluetooth {
		compatible = "broadcom,bcm43xx";
		gpios = <&gpc4 2 0x1	/*BT_EN*/
				&gpa2 2 0x1	/*BT_WAKE*/
				&gpa2 6 0xF	/*BT_HOST_WAKE*/ >;
		pinctrl-names = "default";
		pinctrl-0=<&bt_hostwake &bt_btwake &bt_en>;
		status = "okay";
	};

	/* GPS Uart */
	pinctrl@14CC0000 {
		uart0_rts: uart0-rts {
			samsung,pins = "gpb0-7";
			samsung,pin-function = <2>;
			samsung,pin-pud = <0>;
			samsung,pin-con-pdn = <1>;
			samsung,pin-pud-pdn = <0>;
		};

		uart0_cts: uart0-cts {
			samsung,pins = "gpb0-6";
			samsung,pin-function = <2>;
			samsung,pin-pud = <0>;
			samsung,pin-con-pdn = <2>;
			samsung,pin-pud-pdn = <1>;
		};

		uart0_tx: uart0-tx {
			samsung,pins = "gpb0-5";
			samsung,pin-function = <2>;
			samsung,pin-pud = <0>;
			samsung,pin-con-pdn = <2>;
			samsung,pin-pud-pdn = <3>;
		};

		uart0_rx: uart0-rx {
			samsung,pins = "gpb0-4";
			samsung,pin-function = <2>;
			samsung,pin-pud = <3>;
			samsung,pin-con-pdn = <2>;
			samsung,pin-pud-pdn = <3>;
		};
	};

	serial@14C10000 {
		pinctrl-0 = <&uart0_rts &uart0_cts &uart0_tx &uart0_rx>;
	};

	gps {
		compatible = "samsung,exynos-bcm4752";
		gpios = <&gpd2 6 0x1>;
		status = "okay";
	};

	argos {
		compatible = "samsung,argos";
		#address-cells = <1>;
		/*  The device number should be assigned for each device, e.g. "boot_device@1" and "boot_device@2".
		    Duplicated number is not allowed. Please refer the below example. */

		/* Table Format should be
		 * <Throughput(Mbps) ARM_min ARM_max KFC_min KFC_max MIF INT Task IRQ>
		 * ARM_min : Big Core's minimum frequency lock. 0 means not set,
		 * ARM_max : Big Core's maximum frequency lock. 0 means not set,
		 * KFC_min : Little Core's minimum frequency lock. 0 means not set,
		 * KFC_max : Little Core's maximum frequency lock. 0 means not set,
		 * MIF : MIF frequency lock. 0 means not set,
		 * INT : INT frequency lock. 0 means not set,
		 * Task : 1 - Set task affinity lock.
		 *        0 - Not set or unlock,
		 *              Task affinity should be predefined driver's code.
		 * IRQ : 1 - Set irq affinity lock.
		 *       0 - Not set or unlock,
		 *              Task affinity should be predefined driver's code.
		 */
		boot_device@1 {
			net_boost,label="IPC";
			net_boost,node="rmnet0 rmnet1 rmnet2 rmnet3 rmnet4 rmnet5 rmnet6 rmnet7 umts_dm0";
			net_boost,table_size = <3>;
			net_boost,table= <  1 0 0 0 0 0 0 0 1
					   20 0 0 800000 0 416000 100000 0 1
					   50 0 0 1000000 0 825000 100000 0 1
					  100 0 0 1400000 0 825000 100000 0 1>;
		};

		/* Example
		   boot_device@2 {
		   net_boost,label="EMMC";
		   net_boost,node="";
		   net_boost,sysnode="/sys/class/mmc_host/mmc0/trans_count";
		   net_boost,table_size = <1>;
		   net_boost,table= <64 0 0 1300000 0 825000 400000 0 0>;
		   };
		   boot_device@3 {
		   net_boost,label="WIFI";
		   net_boost,node="wlan0";
		   net_boost,table_size = <3>;
		   net_boost,table= <60 1000000 0 800000 0 0 200000 0 0
		   100 1200000 0 1000000 0 0 200000 0 0
		   180 1700000 0 1100000 0 543000 267000 0 0>;
		   };
		   boot_device@4 {
		   net_boost,label="P2P";
		   net_boost,node="p2p-wlan0-0";
		   net_boost,table_size = <3>;
		   net_boost,table= <30 1000000 0 800000 0 0 200000 0 0
		   50 1200000 0 1000000 0 0 200000 0 0
		   90 1700000 0 1100000 0 543000 267000 0 0>;
		   };
		   boot_device@5 {
		   net_boost,label="CLAT";
		   net_boost,node="clat clat4";
		   net_boost,table_size = <3>;
		   net_boost,table= <120 1400000 0 0 0 825000 0 0 0
		   130 1500000 0 0 0 825000 0 0 0
		   150 1600000 0 0 0 825000 0 0 0>;
		   };
		 */
	};

	mif_pdata {
		pinctrl-names = "default";
		pinctrl-0 = <&cp_rst_n &ds_det>;

		/* To do: will be remove, for system revision */
		gpios = <&gpd0 0 0x0>,
		       <&gpd0 1 0x0>,
		       <&gpd0 2 0x0>,
		       <&gpd0 3 0x0>;

		modem_ctrl,gpio_cp_rst_n = <&gpe0 6 0x1>;
		mif,gpio_ds_det = <&gpd0 4 0x0>;

		mif,ap_clk_table = <
			/* khz */
			1600000
			1500000
			1400000
			1300000
			1200000
			1100000
			1000000
			900000
			800000
			700000
			600000
			500000
			400000
			300000
			>;

		mif,mif_clk_table = <
			/* khz */
			825000
			728000
			667000
			559000
			416000
			338000
			273000
			200000
			>;
	};

	pinctrl@139C0000 {
		ds_det: ds_det {
			samsung,pins = "gpd0-4";
			samsung,pin-function = <0>;	/* INPUT */
			samsung,pin-pud = <0>;
			samsung,pin-con-pdn = <3>;	/* PREV STATE */
			samsung,pin-pud-pdn = <0>;
		};

		cp_rst_n: cp_rst_n {
			samsung,pins = "gpe0-6";
			samsung,pin-function = <1>;	/* OUTPUT */
			samsung,pin-pud = <0>;		/* PU & PD DISABLE */
			samsung,pin-con-pdn = <1>;	/* OUTPUT 1 */
			samsung,pin-pud-pdn = <0>;	/* PU & PD DISABLE */
		};

		sensor_i2c: sensor_i2c {
			samsung,pins = "gpc2-1", "gpc2-0";
			samsung,pin-function = <2>;
			samsung,pin-pud = <0>;
		};
	};
};
